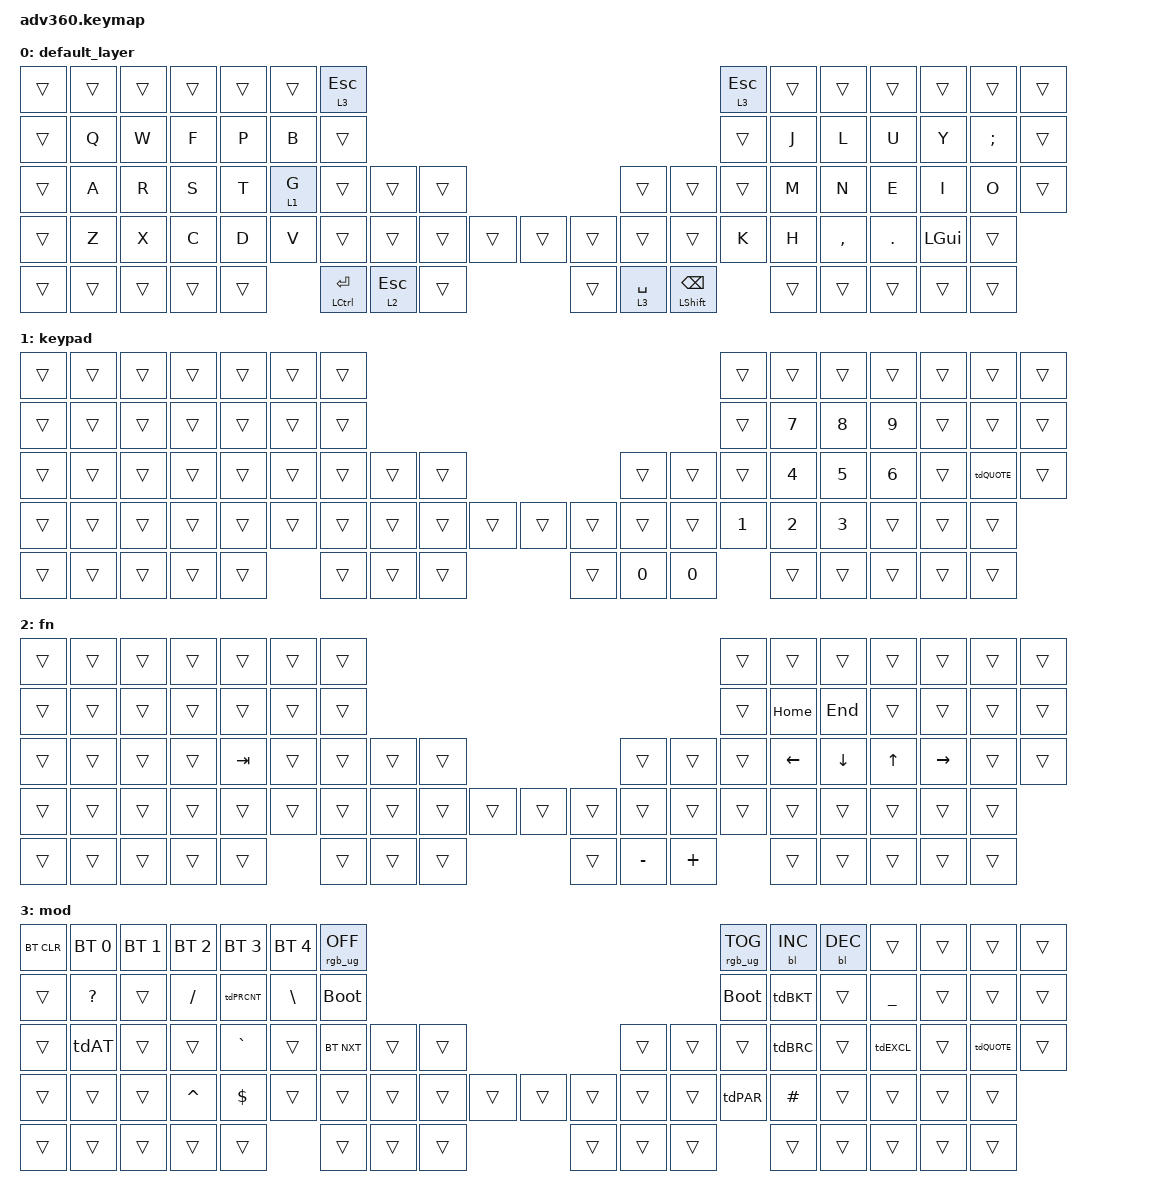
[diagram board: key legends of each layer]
#include <behaviors.dtsi>
#include <dt-bindings/zmk/keys.h>
#include <dt-bindings/zmk/bt.h>
#include <dt-bindings/zmk/rgb.h>
#include <dt-bindings/zmk/backlight.h>

&mt {
    flavor = "balanced";
};

/ {
    behaviors {
        tdAT: tap_dance_1 {
            compatible = "zmk,behavior-tap-dance";
            label = "TAP_DANCE_1";
            #binding-cells = <0>;
            tapping-term-ms = <200>;
            bindings = <&kp AT>, <&kp ASTRK>, <&kp AMPS>;
        };
        
        tdEXCL: tap_dance_2 {
            compatible = "zmk,behavior-tap-dance";
            label = "TAP_DANCE_2";
            #binding-cells = <0>;
            tapping-term-ms = <200>;
            bindings = <&kp EQUAL>, <&kp EXCL>;
        };
        
        tdPRCNT: tap_dance_3 {
            compatible = "zmk,behavior-tap-dance";
            label = "TAP_DANCE_3";
            #binding-cells = <0>;
            tapping-term-ms = <200>;
            bindings = <&kp PRCNT>, <&kp PIPE>;
        };

        tdPAR: tap_dance_4 {
            compatible = "zmk,behavior-tap-dance";
            label = "TAP_DANCE_4";
            #binding-cells = <0>;
            tapping-term-ms = <200>;
            bindings = <&kp LPAR>, <&kp RPAR>;
        };

        tdBRC: tap_dance_5 {
            compatible = "zmk,behavior-tap-dance";
            label = "TAP_DANCE_5";
            #binding-cells = <0>;
            tapping-term-ms = <200>;
            bindings = <&kp LBRC>, <&kp RBRC>;
        };

        tdBKT: tap_dance_6 {
            compatible = "zmk,behavior-tap-dance";
            label = "TAP_DANCE_6";
            #binding-cells = <0>;
            tapping-term-ms = <200>;
            bindings = <&kp LBKT>, <&kp RBKT>;
        };

        tdQUOTE: tap_dance_7 {
            compatible = "zmk,behavior-tap-dance";
            label = "TAP_DANCE_7";
            #binding-cells = <0>;
            tapping-term-ms = <200>;
            bindings = <&kp SINGLE_QUOTE>, <&kp DOUBLE_QUOTES>;
        };
    };

    keymap {
        compatible = "zmk,keymap";
        // ,-------------------------------------------.                                  ,-------------------------------------------.
        // |     |     |     |     |     |     |ESC/LR3|                                  |ESC/LR3|     |     |     |     |     |     |
        // |-----+-----+-----+-----+-----+-----+-------|                                  |-------+-----+-----+-----+-----+-----+-----|
        // |     |  Q  |  W  |  F  |  P  |  B  |       |                                  |       |  J  |  L  |  U  |  Y  |  ;  |     |
        // |-----+-----+-----+-----+-----+-----+-------| ,-----------.      ,-----------. |-------+-----+-----+-----+-----+-----+-----|
        // |     |  A  |  R  |  S  |  T  |G/LR1|       | |     |     |      |     |     | |       |  M  |  N  |  E  |  I  |  O  |     |
        // |-----+-----+-----+-----+-----+-----+-------' `-----+-----|      |-----+-----' `-------+-----+-----+-----+-----+-----+-----|
        // |     |  Z  |  X  |  C  |  D  |  V  |               |     |      |     |               |  K  |  M  |  ,  |  .  | WIN |     |
        // |-----+-----+-----+-----+-----+-----'   ,-----------+-----|      |-----+-----------.   `-----+-----+-----+-----+-----+-----|
        // |     |     |     |     |     |         |     |     |     |      |     |     |     |         |     |     |     |     |     |
        // `-----------------------------'         `-----------------'      `-----------------'         `-----------------------------'
        default_layer {
            bindings = <
                &trans &trans &trans &trans &trans &trans  &lt 3 ESC                                                                             &lt 3 ESC &trans &trans &trans    &trans  &trans   &trans
                &trans &kp Q  &kp W  &kp F  &kp P  &kp B   &trans                                                                                &trans    &kp J  &kp L  &kp U     &kp Y   &kp SEMI &trans
                &trans &kp A  &kp R  &kp S  &kp T  &lt 1 G &trans               &trans    &trans               &trans &trans                     &trans    &kp M  &kp N  &kp E     &kp I   &kp O    &trans
                &trans &kp Z  &kp X  &kp C  &kp D  &kp V          &trans        &trans    &trans &trans &trans &trans &trans      &trans                   &kp K  &kp H  &kp COMMA &kp DOT &kp LGUI &trans
                &trans &trans &trans &trans &trans                &mt LCTRL RET &lt 2 ESC &trans               &trans &lt 3 SPACE &mt LSHFT BSPC                  &trans &trans    &trans  &trans   &trans
            >;
        };
        // ,-----------------------------------------.                                  ,-----------------------------------------.
        // |     |     |     |     |     |     |     |                                  |     |     |     |     |     |     |     |
        // |-----+-----+-----+-----+-----+-----+-----|                                  |-----+-----+-----+-----+-----+-----+-----|
        // |     |     |     |     |     |     |     |                                  |     |  7  |  8  |  9  |     |     |     |
        // |-----+-----+-----+-----+-----+-----+-----| ,-----------.      ,-----------. |-----+-----+-----+-----+-----+-----+-----|
        // |     |     |     |     |     |     |     | |     |     |      |     |     | |     |  4  |  5  |  6  |     |  "  |     |
        // |-----+-----+-----+-----+-----+-----+-----' `-----+-----|      |-----+-----' `-----+-----+-----+-----+-----+-----+-----|
        // |     |     |     |     |     |     |             |     |      |     |             |  1  |  2  |  3  |     |     |     |
        // |-----+-----+-----+-----+-----+-----' ,-----------+-----|      |-----+-----------. `-----+-----+-----+-----+-----+-----|
        // |     |     |     |     |     |       |     |     |     |      |     |     |     |       |     |     |     |     |     |
        // `-----------------------------'       `-----------------'      `-----------------'       `-----------------------------'
        keypad {
            bindings = <
                &trans &trans &trans &trans &trans &trans &trans                                                         &trans &trans &trans &trans &trans &trans   &trans
                &trans &trans &trans &trans &trans &trans &trans                                                         &trans &kp N7 &kp N8 &kp N9 &trans &trans   &trans
                &trans &trans &trans &trans &trans &trans &trans        &trans &trans               &trans &trans        &trans &kp N4 &kp N5 &kp N6 &trans &tdQUOTE &trans
                &trans &trans &trans &trans &trans &trans        &trans &trans &trans &trans &trans &trans &trans &trans        &kp N1 &kp N2 &kp N3 &trans &trans   &trans
                &trans &trans &trans &trans &trans               &trans &trans &trans               &trans &kp N0 &kp N0               &trans &trans &trans &trans   &trans
            >;
        };
        // ,-----------------------------------------.                                  ,-----------------------------------------.
        // |     |     |     |     |     |     |     |                                  |     |     |     |     |     |     |     |
        // |-----+-----+-----+-----+-----+-----+-----|                                  |-----+-----+-----+-----+-----+-----+-----|
        // |     |     |     |     |     |     |     |                                  |     | HME | END |     |     |     |     |
        // |-----+-----+-----+-----+-----+-----+-----| ,-----------.      ,-----------. |-----+-----+-----+-----+-----+-----+-----|
        // |     |     |     |     | TAB |     |     | |     |     |      |     |     | |     |  ←  |  ↓  |  ↑  |  →  |     |     |
        // |-----+-----+-----+-----+-----+-----+-----' `-----+-----|      |-----+-----' `-----+-----+-----+-----+-----+-----+-----|
        // |     |     |     |     |     |     |             |     |      |     |             |     |     |     |     |     |     |
        // |-----+-----+-----+-----+-----+-----' ,-----------+-----|      |-----+-----------. `-----+-----+-----+-----+-----+-----|
        // |     |     |     |     |     |       |     |     |     |      |     |MINUS| PLS |       |     |     |     |     |     |
        // `-----------------------------'       `-----------------'      `-----------------'       `-----------------------------'
        fn {
            bindings = <
                &trans &trans &trans &trans &trans  &trans &trans                                                              &trans &trans   &trans   &trans &trans    &trans &trans
                &trans &trans &trans &trans &trans  &trans &trans                                                              &trans &kp HOME &kp END  &trans &trans    &trans &trans
                &trans &trans &trans &trans &kp TAB &trans &trans        &trans &trans               &trans &trans             &trans &kp LEFT &kp DOWN &kp UP &kp RIGHT &trans &trans
                &trans &trans &trans &trans &trans  &trans        &trans &trans &trans &trans &trans &trans &trans    &trans          &trans   &trans   &trans &trans    &trans &trans
                &trans &trans &trans &trans &trans                &trans &trans &trans               &trans &kp MINUS &kp PLUS                 &trans   &trans &trans    &trans &trans
            >;
        };
        // ,------------------------------------------.                                  ,-----------------------------------------.
        // |BTCLR| BT1 | BT2 | BT3 | BT4 | BT5 |RGBOFF|                                  |     |     |     |     |     |     |     |
        // |-----+-----+-----+-----+-----+-----+------|                                  |-----+-----+-----+-----+-----+-----+-----|
        // |     |  ?  |     |  /  | % | |  \  |BOOTL |                                  |BOOTL| [/] |     |  _  |     |     |     |
        // |-----+-----+-----+-----+-----+-----+------| ,-----------.      ,-----------. |-----+-----+-----+-----+-----+-----+-----|
        // |     | @*& |     |  `  |     |     |BTNXT | |     |     |      |     |     | |     | {/} |     | !/= |     | '/" |     |
        // |-----+-----+-----+-----+-----+-----+------' `-----+-----|      |-----+-----' `-----+-----+-----+-----+-----+-----+-----|
        // |     |     |  ^  |  $  |     |     |              |     |      |     |             | (/) |  #  |     |     |     |     |
        // |-----+-----+-----+-----+-----+-----'  ,-----------+-----|      |-----+-----------. `-----+-----+-----+-----+-----+-----|
        // |     |     |     |     |     |        |     |     |     |      |     |     |     |       |     |     |     |     |     |
        // `-----------------------------'        `-----------------'      `-----------------'       `-----------------------------'
        mod {
            bindings = <
                &bt BT_CLR &bt BT_SEL 0 &bt BT_SEL 1 &bt BT_SEL 2 &bt BT_SEL 3 &bt BT_SEL 4 &rgb_ug RGB_OFF                                                         &rgb_ug RGB_TOG &bl BL_INC &bl BL_DEC &trans    &trans &trans   &trans
                &trans     &kp QMARK    &trans       &kp FSLH     &tdPRCNT     &kp BSLH     &bootloader                                                             &bootloader     &tdBKT     &trans     &kp UNDER &trans &trans   &trans
                &trans     &tdAT        &trans       &trans       &kp GRAVE    &trans       &bt BT_NXT             &trans &trans               &trans &trans        &trans          &tdBRC     &trans     &tdEXCL   &trans &tdQUOTE &trans
                &trans     &trans       &trans       &kp CARET    &kp DLLR     &trans                       &trans &trans &trans &trans &trans &trans &trans &trans                 &tdPAR     &kp HASH   &trans    &trans &trans   &trans
                &trans     &trans       &trans       &trans       &trans                                    &trans &trans &trans               &trans &trans &trans                            &trans     &trans    &trans &trans   &trans
            >;
        };
    };
};

// ,-----------------------------------------.                                  ,-----------------------------------------.
// |     |     |     |     |     |     |     |                                  |     |     |     |     |     |     |     |
// |-----+-----+-----+-----+-----+-----+-----|                                  |-----+-----+-----+-----+-----+-----+-----|
// |     |     |     |     |     |     |     |                                  |     |     |     |     |     |     |     |
// |-----+-----+-----+-----+-----+-----+-----| ,-----------.      ,-----------. |-----+-----+-----+-----+-----+-----+-----|
// |     |     |     |     |     |     |     | |     |     |      |     |     | |     |     |     |     |     |     |     |
// |-----+-----+-----+-----+-----+-----+-----' `-----+-----|      |-----+-----' `-----+-----+-----+-----+-----+-----+-----|
// |     |     |     |     |     |     |             |     |      |     |             |     |     |     |     |     |     |
// |-----+-----+-----+-----+-----+-----' ,-----------+-----|      |-----+-----------. `-----+-----+-----+-----+-----+-----|
// |     |     |     |     |     |       |     |     |     |      |     |     |     |       |     |     |     |     |     |
// `-----------------------------'       `-----------------'      `-----------------'       `-----------------------------'
